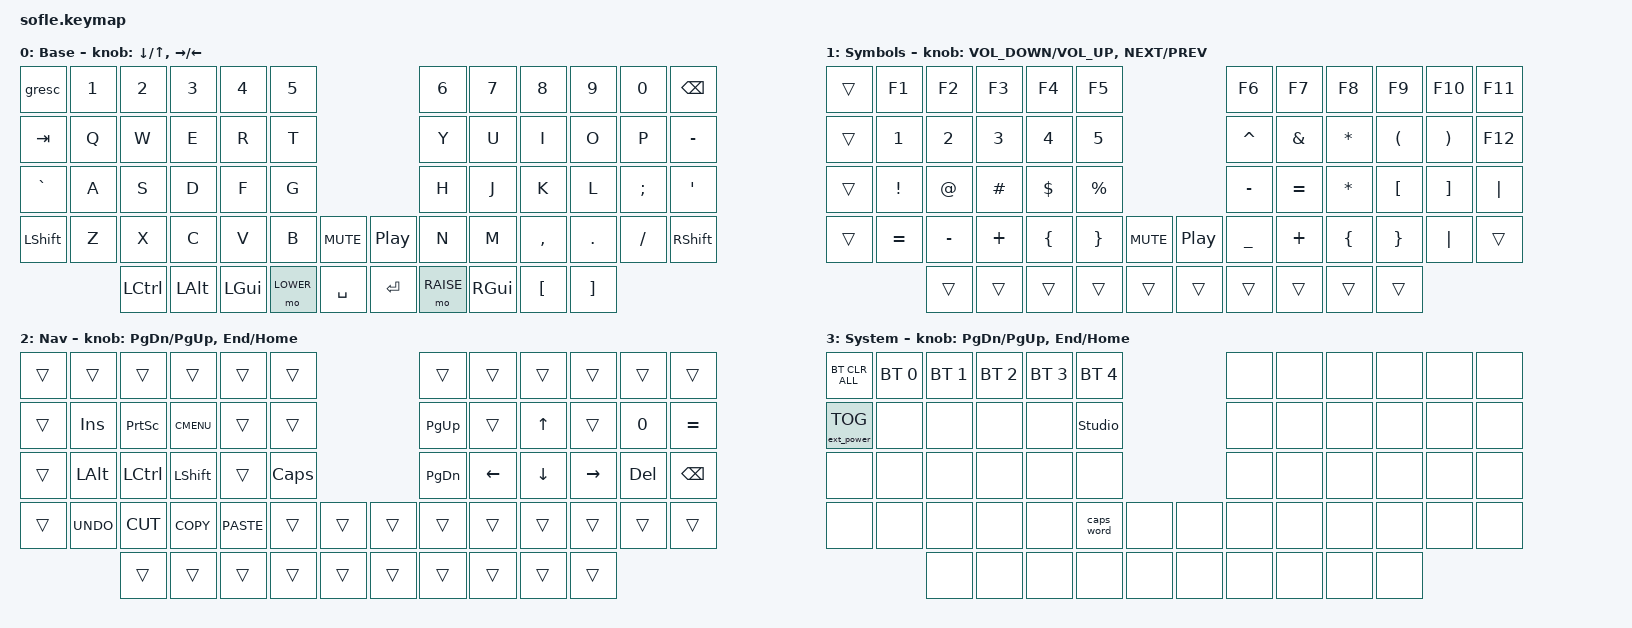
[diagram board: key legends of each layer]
/*
 * Copyright (c) 2020 The ZMK Contributors
 *
 * SPDX-License-Identifier: MIT
 */

#include <behaviors.dtsi>
#include <dt-bindings/zmk/bt.h>
#include <dt-bindings/zmk/ext_power.h>
#include <dt-bindings/zmk/keys.h>

// Encoders

&sensors { triggers-per-rotation = <30>; };

&left_encoder { steps = <60>; };

&right_encoder { steps = <60>; };


#define BASE 0
#define LOWER 1
#define RAISE 2
#define ADJUST 3

/ {
    // Activate ADJUST layer by pressing raise and lower

    conditional_layers {
        compatible = "zmk,conditional-layers";

        adjust_layer {
            if-layers = <LOWER RAISE>;
            then-layer = <ADJUST>;
        };
    };

    combos {
        compatible = "zmk,combos";

        backspace {
            bindings = <&kp BACKSPACE>;
            key-positions = <32 31>;
        };

        delete {
            bindings = <&kp DELETE>;
            key-positions = <27 33>;
        };

        esc {
            bindings = <&kp ESCAPE>;
            key-positions = <25 41>;
        };
    };

    behaviors {
        caps: caps {
            compatible = "zmk,behavior-caps-word";
            label = "CAPS";
            #binding-cells = <0>;
            continue-list = <POUND MINUS BACKSPACE UNDERSCORE>;
        };
    };

    keymap {
        compatible = "zmk,keymap";

        default_layer {
            display-name = "Base";

            // ------------------------------------------------------------------------------------------------------------
            // |   `   |  1  |  2  |  3   |  4   |  5   |                   |  6   |  7    |  8    |  9   |   0   |       |
            // |  ESC  |  Q  |  W  |  E   |  R   |  T   |                   |  Y   |  U    |  I    |  O   |   P   | BKSPC |
            // |  TAB  |  A  |  S  |  D   |  F   |  G   |                   |  H   |  J    |  K    |  L   |   ;   |   '   |
            // | SHIFT |  Z  |  X  |  C   |  V   |  B   |  MUTE  |  |       |  N   |  M    |  ,    |  .   |   /   | SHIFT |
            //               | GUI | ALT  | CTRL | LOWER|  ENTER |  | SPACE | RAISE| CTRL  | ALT   | GUI  |

            bindings = <
&gresc            &kp N1  &kp N2    &kp N3    &kp N4     &kp N5                                     &kp N6     &kp N7     &kp N8     &kp N9    &kp N0    &kp BSPC
&kp TAB           &kp Q   &kp W     &kp E     &kp R      &kp T                                      &kp Y      &kp U      &kp I      &kp O     &kp P     &kp MINUS
&kp GRAVE         &kp A   &kp S     &kp D     &kp F      &kp G                                      &kp H      &kp J      &kp K      &kp L     &kp SEMI  &kp SQT
&kp LEFT_SHIFT    &kp Z   &kp X     &kp C     &kp V      &kp B      &kp C_MUTE    &kp C_PLAY_PAUSE  &kp N      &kp M      &kp COMMA  &kp DOT   &kp FSLH  &kp RSHFT
                          &kp LCTRL  &kp LALT  &kp LGUI  &mo LOWER  &kp SPACE     &kp ENTER         &mo RAISE  &kp RGUI   &kp LBKT   &kp RBKT
            >;

            sensor-bindings = <&inc_dec_kp DOWN_ARROW UP_ARROW &inc_dec_kp RIGHT_ARROW LEFT_ARROW>;
        };

        lower_layer {
            display-name = "Symbols";

            // TODO: Some binds are waiting for shifted keycode support.
            // ------------------------------------------------------------------------------------------------------------
            // |       |  F1 |  F2 |  F3  |  F4  |  F5  |                   |  F6  |  F7   |  F8   |  F9  |  F10  |  F11  |
            // |   `   |  1  |  2  |  3   |  4   |  5   |                   |  6   |  7    |  8    |  9   |   0   |  F12  |
            // |       |  !  |  @  |  #   |  $   |  %   |                   |  ^   |  &    |  *    |  (   |   )   |   |   |
            // |       |  =  |  -  |  +   |  {   |  }   |        |  |       |  [   |  ]    |  ;    |  :   |   \   |       |
            //               |     |      |      |      |        |  |       |      |       |       |      |

            bindings = <
&trans  &kp F1     &kp F2     &kp F3    &kp F4    &kp F5                                           &kp F6          &kp F7         &kp F8          &kp F9                &kp F10                &kp F11
&trans  &kp N1     &kp N2     &kp N3    &kp N4    &kp N5                                           &kp CARET       &kp AMPERSAND  &kp ASTRK       &kp LEFT_PARENTHESIS  &kp RIGHT_PARENTHESIS  &kp F12
&trans  &kp EXCL   &kp AT     &kp HASH  &kp DLLR  &kp PRCNT                                        &kp MINUS       &kp EQUAL      &kp ASTRK       &kp LEFT_BRACKET      &kp RIGHT_BRACKET      &kp PIPE
&trans  &kp EQUAL  &kp MINUS  &kp PLUS  &kp LBRC  &kp RBRC   &kp C_MUTE    &kp C_PLAY_PAUSE           &kp UNDERSCORE  &kp PLUS       &kp LEFT_BRACE  &kp RIGHT_BRACE       &kp PIPE               &trans
                   &trans     &trans    &trans    &trans     &trans        &trans  &trans          &trans         &trans          &trans
            >;

            sensor-bindings =
                <&inc_dec_kp C_VOLUME_DOWN C_VOLUME_UP>,
                <&inc_dec_kp C_NEXT C_PREV>;
        };

        raise_layer {
            display-name = "Nav";

            // ------------------------------------------------------------------------------------------------------------
            // | BTCLR | BT1  | BT2  |  BT3  |  BT4  |  BT5 |                |      |      |       |      |       |       |
            // |       | INS  | PSCR | GUI   |       |      |                | PGUP |      |   ^   |      |       |       |
            // |       | ALT  | CTRL | SHIFT |       | CAPS |                | PGDN |   <- |   v   |  ->  |  DEL  | BKSPC |
            // |       | UNDO | CUT  | COPY  | PASTE |      |      |  |      |      |      |       |      |       |       |
            //                |      |       |       |      |      |  |      |      |      |       |      |

            bindings = <
&trans  &trans      &trans     &trans       &trans       &trans                      &trans     &trans    &trans    &trans     &trans   &trans
&trans  &kp INS     &kp PSCRN  &kp K_CMENU  &trans       &trans                      &kp PG_UP  &trans    &kp UP    &trans     &kp N0   &kp EQUAL
&trans  &kp LALT    &kp LCTRL  &kp LSHFT    &trans       &kp CLCK                    &kp PG_DN  &kp LEFT  &kp DOWN  &kp RIGHT  &kp DEL  &kp BSPC
&trans  &kp K_UNDO  &kp K_CUT  &kp K_COPY   &kp K_PASTE  &trans    &trans    &trans  &trans     &trans    &trans    &trans     &trans   &trans
                    &trans     &trans       &trans       &trans    &trans    &trans  &trans     &trans    &trans    &trans
            >;

            sensor-bindings = <&inc_dec_kp PG_DN PG_UP &inc_dec_kp END HOME>;
        };

        adjust_layer {
            // ----------------------------------------------------------------------------------------------------------------------------
            // | BTCLR  |  BT1    |  BT2    |   BT3   |   BT4   |   BT5   |                  |      |      |       |      |       |       |
            // | EXTPWR | RGB_HUD | RGB_HUI | RGB_SAD | RGB_SAI | RGB_EFF |                  |      |      |       |      |       |       |
            // |        | RGB_BRD | RGB_BRI |         |         |         |                  |      |      |       |      |       |       |
            // |        |         |         |         |         |         | RGB_TOG | |      |      |      |       |      |       |       |
            //                    |         |         |         |         |         | |      |      |      |       |      |

            display-name = "System";
            bindings = <
&bt BT_CLR_ALL     &bt BT_SEL 0  &bt BT_SEL 1  &bt BT_SEL 2  &bt BT_SEL 3  &bt BT_SEL 4                  &none  &none  &none  &none  &none  &none
&ext_power EP_TOG  &none         &none         &none         &none         &studio_unlock                         &none  &none  &none  &none  &none  &none
&none              &none         &none         &none         &none         &none                         &none  &none  &none  &none  &none  &none
&none              &none         &none         &none         &none         &caps_word    &none    &none  &none  &none  &none  &none  &none  &none
                                 &none         &none         &none         &none         &none    &none  &none  &none  &none  &none
            >;

            sensor-bindings = <&inc_dec_kp PG_DN PG_UP &inc_dec_kp END HOME>;
        };
    };
};
